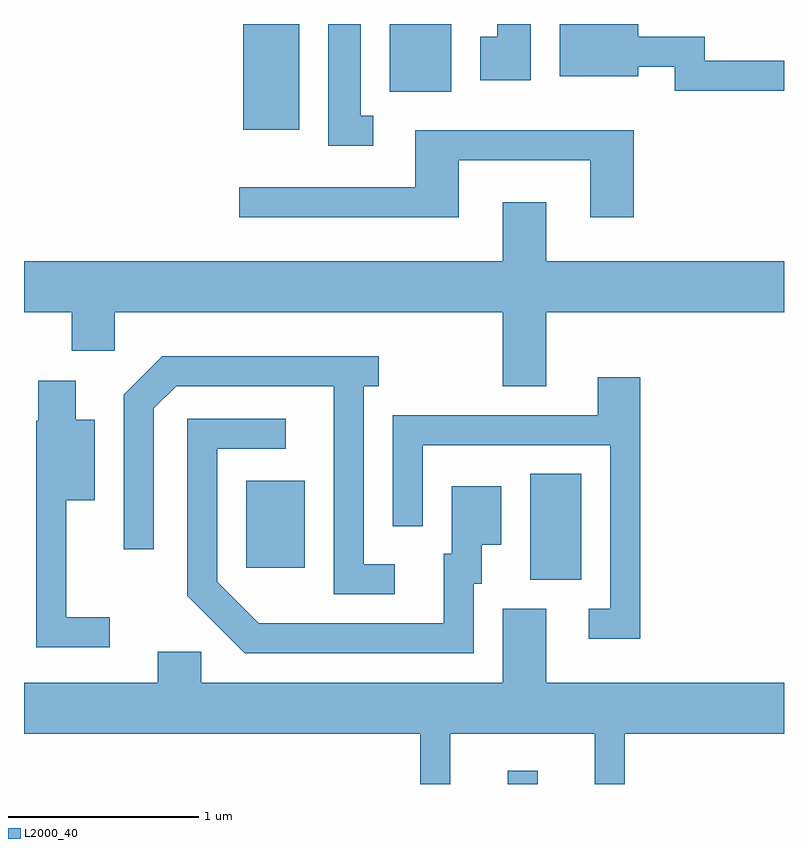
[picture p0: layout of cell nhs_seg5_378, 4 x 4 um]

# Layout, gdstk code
import gdstk
lib = gdstk.Library(unit=1e-6, precision=1e-09)
def R(c, l, rs):  # rectangles x0, y0, x1, y1
    for r in rs: c.add(gdstk.rectangle(r[:2], r[2:], *l))
def P(c, l, *ps):  # polygons
    for p in ps: c.add(gdstk.Polygon(p, *l))
L2000_40 = (2000, 40)

nhs_seg5_378 = lib.new_cell('nhs_seg5_378')
R(nhs_seg5_378, L2000_40, [(198.156,1472.072,198.314,1472.143), (198.276,1473.146,198.544,1473.704), (196.781,1473.211,197.089,1473.669), (196.766,1475.516,197.059,1476.072), (197.536,1475.716,197.859,1476.072)])
P(nhs_seg5_378, L2000_40, [(197.448,1475.589),(197.384,1475.589),(197.384,1476.072),(197.211,1476.072),(197.211,1475.431),(197.448,1475.431)],
  [(199.611,1475.879),(199.194,1475.879),(199.194,1476.004),(198.844,1476.004),(198.844,1476.072),(198.431,1476.072),(198.431,1475.796),(198.844,1475.796),(198.844,1475.846),(199.036,1475.846),(199.036,1475.721),(199.611,1475.721)],
  [(198.279,1476.072),(198.101,1476.072),(198.101,1476.004),(198.011,1476.004),(198.011,1475.776),(198.279,1475.776)],
  [(197.899,1475.356),(198.591,1475.356),(198.591,1475.056),(198.819,1475.056),(198.819,1475.514),(197.671,1475.514),(197.671,1475.214),(196.743,1475.214),(196.743,1475.056),(197.899,1475.056)],
  [(198.359,1474.556),(199.611,1474.556),(199.611,1474.824),(198.359,1474.824),(198.359,1475.134),(198.131,1475.134),(198.131,1474.824),(195.611,1474.824),(195.611,1474.556),(195.861,1474.556),(195.861,1474.351),(196.089,1474.351),(196.089,1474.556),(198.131,1474.556),(198.131,1474.166),(198.359,1474.166)],
  [(197.563,1473.229),(197.399,1473.229),(197.399,1474.166),(197.478,1474.166),(197.478,1474.324),(196.339,1474.324),(196.136,1474.122),(196.136,1473.308),(196.294,1473.308),(196.294,1474.049),(196.412,1474.166),(197.241,1474.166),(197.241,1473.071),(197.563,1473.071)],
  [(198.854,1474.214),(198.631,1474.214),(198.631,1474.014),(197.551,1474.014),(197.551,1473.428),(197.709,1473.428),(197.709,1473.856),(198.696,1473.856),(198.696,1472.994),(198.583,1472.994),(198.583,1472.836),(198.854,1472.836)],
  [(196.063,1472.949),(195.834,1472.949),(195.834,1473.566),(195.984,1473.566),(195.984,1473.989),(195.884,1473.989),(195.884,1474.194),(195.686,1474.194),(195.686,1473.985),(195.676,1473.985),(195.676,1472.791),(196.063,1472.791)],
  [(197.979,1473.126),(198.019,1473.126),(198.019,1473.331),(198.124,1473.331),(198.124,1473.639),(197.861,1473.639),(197.861,1473.284),(197.821,1473.284),(197.821,1472.919),(196.847,1472.919),(196.629,1473.137),(196.629,1473.836),(196.988,1473.836),(196.988,1473.994),(196.471,1473.994),(196.471,1473.064),(196.774,1472.761),(197.979,1472.761)],
  [(197.854,1472.336),(198.616,1472.336),(198.616,1472.072),(198.774,1472.072),(198.774,1472.336),(199.611,1472.336),(199.611,1472.604),(198.359,1472.604),(198.359,1472.994),(198.131,1472.994),(198.131,1472.604),(196.544,1472.604),(196.544,1472.769),(196.316,1472.769),(196.316,1472.604),(195.611,1472.604),(195.611,1472.336),(197.696,1472.336),(197.696,1472.072),(197.854,1472.072)])

lib.write_gds('nhs_seg5_378.gds')
